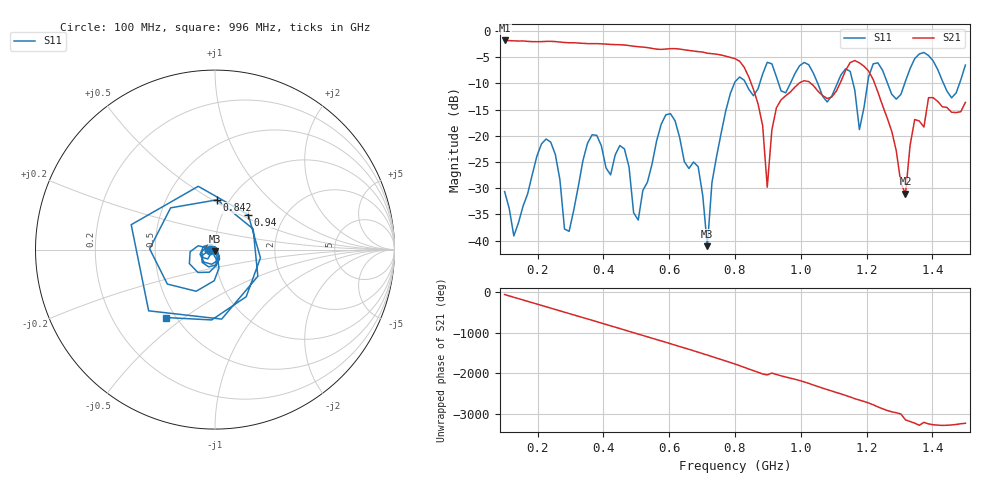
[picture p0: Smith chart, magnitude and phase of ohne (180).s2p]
! NanoVNA-App
! Date: 2025-09-25 14:22:12
! Start: 100MHz Stop: 1,5GHz Points: 101
! S-Parameter data: F S11 S21 S12 S22
# Hz S RI R 50
!  Frequency  S11_Real  S11_Imag  S21_Real  S21_Imag  S12_Real  S12_Imag  S22_Real  S22_Imag
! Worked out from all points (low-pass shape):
!   101 points, 100 MHz to 1.5 GHz, reference 50 ohm
!   highest |S21| = -1.79 dB at 100 MHz (marker M1); lowest = -31.1 dB at 1.318 GHz (marker M2)
!   |S21| within 3 dB of the highest: start of sweep to 771.7 MHz
!   lowest |S11| = -41.1 dB at 716 MHz (marker M3), VSWR 1.02, Z = 49.8 - j0.848 ohm
!   |S11| at or under -10 dB: start of sweep to 798 MHz; 833 MHz to 875.1 MHz (42.1 MHz wide, 4.93 % of centre); 1.052 GHz to 1.111 GHz (59.12 MHz wide, 5.47 % of centre)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
!   S12 and S22 are empty: the file has one direction only
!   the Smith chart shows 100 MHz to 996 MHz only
!   S11 on the Smith chart (normalised r, x): 100 MHz: 0.94, -0.01; 842 MHz: 0.88, +0.53; 940 MHz: 1.32, +0.55; 996 MHz: 0.45, -0.43
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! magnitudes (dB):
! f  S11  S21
! 100 MHz  -30.6  -1.8
! 128 MHz  -39.1  -1.9
! 226 MHz  -20.6  -2.0
! 296 MHz  -38.2  -2.2
! 338 MHz  -24.7  -2.3
! 464 MHz  -22.5  -2.7
! 506 MHz  -36.1  -3.0
! 576 MHz  -17.7  -3.5
! 688 MHz  -25.9  -3.9
! 716 MHz  -41.1  -4.2
! 800 MHz  -9.7  -5.3
! 842 MHz  -11.1  -8.8
! 898 MHz  -6.0  -29.8
! 940 MHz  -11.4  -13.1
! 996 MHz  -6.6  -9.9
! 1.038 GHz  -8.0  -10.4
! 1.178 GHz  -18.8  -6.1
! 1.22 GHz  -6.3  -9.3
! 1.276 GHz  -12.0  -19.1
! 1.318 GHz  -9.6  -31.1
! 1.388 GHz  -4.7  -12.7
! 1.5 GHz  -6.5  -13.6
